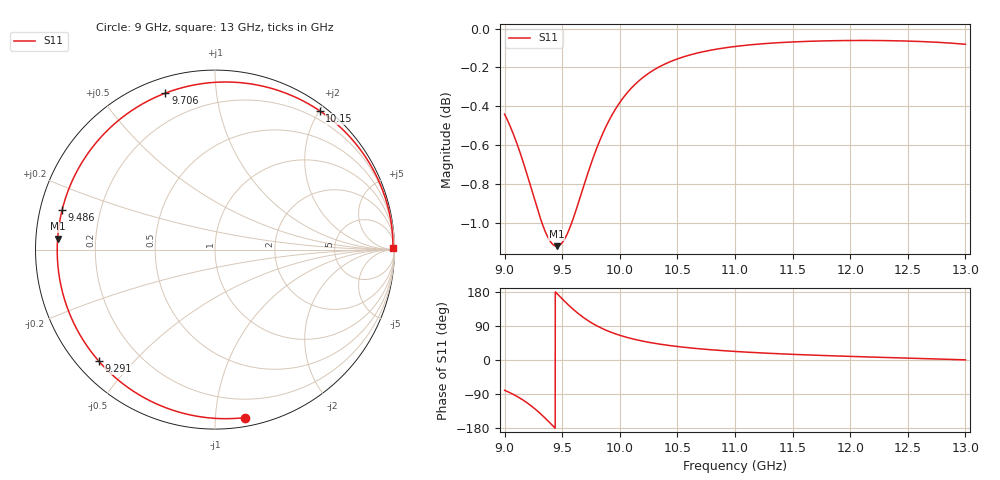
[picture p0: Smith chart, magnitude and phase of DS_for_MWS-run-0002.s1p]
! TOUCHSTONE file generated by CST DESIGN STUDIO
! Date and time: Tue Feb  4 17:25:06 2025
! Project name: C:\Work\MatlabApps\UnitCellOptimizationMatlab\CST\unitcell.cst
! Tree item: Tasks\Sweep1\SPara1\S-Parameters
! Header version: 2024
! Port assignment regex: !\s*Touchstone port\s*([0-9]+)\s*=\s*(CST MWS port|CST DES external port|CST DES block port)\s*(.+)\s* \(\"(.*)\"\)(\s*mode\s*([0-9]+))?.*
! Touchstone port assignment:
! Touchstone port 1 = CST DES external port 1 ("")
# GHz S MA R 50
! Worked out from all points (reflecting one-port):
!   4001 points, 9 GHz to 13 GHz, reference 50 ohm
!   lowest |S11| = -1.1 dB at 9.452 GHz (marker M1), VSWR 15.53, Z = 3.22 + j1.74 ohm
!   phase of S11 starts at -80 deg and turns -280 deg over the sweep
!   S11 on the Smith chart (normalised r, x): 9 GHz: 0.06, -1.19; 9.291 GHz: 0.06, -0.40; 9.486 GHz: 0.06, +0.13; 9.706 GHz: 0.07, +0.73; 10.15 GHz: 0.08, +2.01; 13 GHz: open
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9  0.9506 -79.9
9.089  0.9372 -92.9
9.162  0.9238 -106.1
9.228  0.9103 -120.4
9.291  0.8974 -136.2
9.337  0.8891 -149.0
9.377  0.8835 -160.8
9.415  0.8801 -172.5
9.452  0.879 176.0
9.486  0.88 165.5
9.5  0.8809 161.2
9.554  0.8869 145.2
9.604  0.8951 131.5
9.654  0.9045 119.1
9.706  0.9147 107.6
9.763  0.9253 96.6
9.827  0.936 86.1
9.911  0.9476 74.8
10  0.9572 65.2
10.151  0.9686 52.9
10.309  0.9763 43.7
10.5  0.9822 35.6
10.723  0.9864 28.7
11  0.9895 22.6
11.5  0.9921 14.9
12  0.993 9.5
12.5  0.9926 4.9
13  0.9907 0.4
